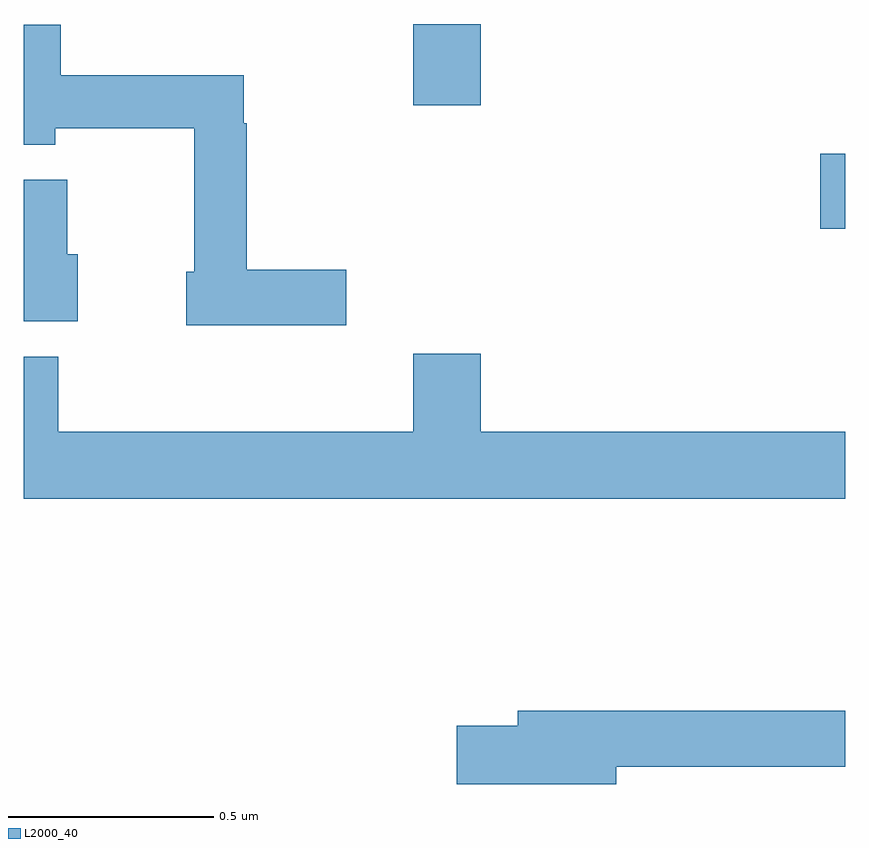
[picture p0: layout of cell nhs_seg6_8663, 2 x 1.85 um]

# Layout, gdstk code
import gdstk
lib = gdstk.Library(unit=1e-6, precision=1e-09)
def R(c, l, rs):  # rectangles x0, y0, x1, y1
    for r in rs: c.add(gdstk.rectangle(r[:2], r[2:], *l))
def P(c, l, *ps):  # polygons
    for p in ps: c.add(gdstk.Polygon(p, *l))
L2000_40 = (2000, 40)

nhs_seg6_8663 = lib.new_cell('nhs_seg6_8663')
R(nhs_seg6_8663, L2000_40, [(225.939,940.001,226,940.184), (224.948,940.302,225.112,940.5)])
P(nhs_seg6_8663, L2000_40, [(224.785,939.902),(224.543,939.902),(224.543,940.259),(224.536,940.259),(224.536,940.375),(224.09,940.375),(224.09,940.498),(224,940.498),(224,940.206),(224.077,940.206),(224.077,940.246),(224.415,940.246),(224.415,939.897),(224.396,939.897),(224.396,939.767),(224.785,939.767)],
  [(224.131,939.939),(224.106,939.939),(224.106,940.121),(224,940.121),(224,939.776),(224.131,939.776)],
  [(226,939.508),(225.112,939.508),(225.112,939.697),(224.948,939.697),(224.948,939.508),(224.084,939.508),(224.084,939.69),(224,939.69),(224,939.344),(226,939.344)],
  [(225.442,938.692),(226,938.692),(226,938.828),(225.203,938.828),(225.203,938.792),(225.054,938.792),(225.054,938.65),(225.442,938.65)])

lib.write_gds('nhs_seg6_8663.gds')
